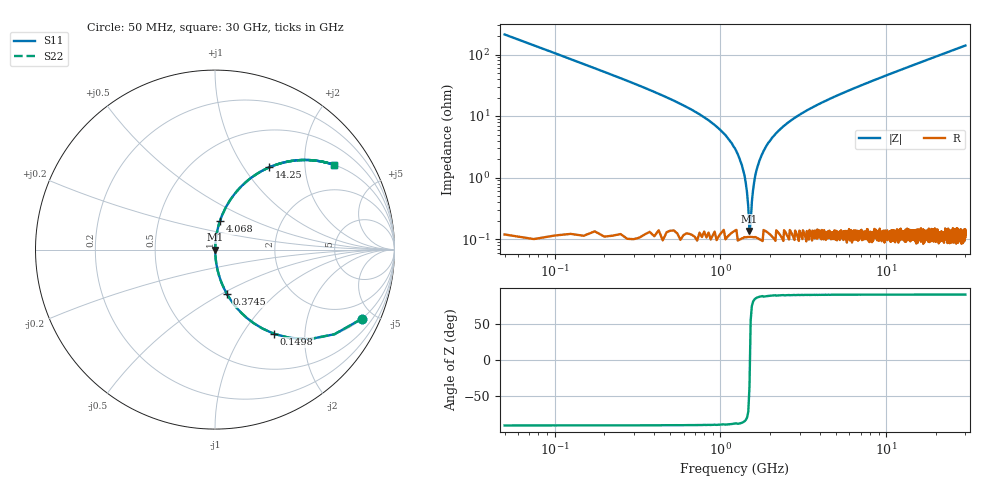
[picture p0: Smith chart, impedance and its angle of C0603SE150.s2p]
!	AVX Thin Film Operation 	Date: April 2014
!	Description: Accu-P® Series, Thin Film  SMD RF Capacitor
!	Part Number: 06035J150FBSTR
# MHZ S MA R 50
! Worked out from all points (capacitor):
!   1201 points, 50 MHz to 30 GHz, reference 50 ohm
!   read as one part in series: C = 15 pF near 199.8 MHz
!   lowest |Z| = 135 mohm at 1.498 GHz (marker M1)
!   series resonance near 1.506 GHz, so ESL is about 740 pH
!   S11 on the Smith chart (normalised r, x): 50 MHz: 1.00, -4.24; 149.8 MHz: 1.00, -1.40; 374.5 MHz: 1.00, -0.53; 4.068 GHz: 1.00, +0.33; 14.25 GHz: 1.00, +1.32; 30 GHz: 1.00, +2.80
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50  0.904 -25.2  0.427 64.7  0.427 64.7  0.904 -25.2
149.833  0.574 -54.9  0.818 35.0  0.818 35.0  0.574 -54.9
249.667  0.382 -67.4  0.923 22.4  0.923 22.4  0.382 -67.4
374.458  0.257 -74.9  0.965 14.9  0.965 14.9  0.257 -74.9
649  0.132 -81.9  0.99 7.6  0.99 7.6  0.132 -81.9
1123.208  0.042 -86.0  0.998 2.4  0.998 2.4  0.042 -86.0
1272.958  0.024 -85.8  0.999 1.4  0.999 1.4  0.024 -85.8
1397.75  0.011 -83.1  0.999 0.6  0.999 0.6  0.011 -83.1
1497.583  0.001419 -34.5  0.999 0.0  0.999 0.0  0.001419 -34.5
1622.375  0.011 83.0  0.999 -0.6  0.999 -0.6  0.011 83.0
1722.208  0.019 85.4  0.999 -1.1  0.999 -1.1  0.019 85.4
1822.042  0.027 86.0  0.998 -1.5  0.998 -1.5  0.027 86.0
2196.417  0.054 85.7  0.997 -3.1  0.997 -3.1  0.054 85.7
2920.208  0.1 83.6  0.994 -5.7  0.994 -5.7  0.1 83.6
4068.292  0.162 80.3  0.986 -9.3  0.986 -9.3  0.162 80.3
5041.667  0.21 77.6  0.977 -12.1  0.977 -12.1  0.21 77.6
10058.29  0.417 65.2  0.908 -24.7  0.908 -24.7  0.417 65.2
14251.29  0.55 56.5  0.834 -33.4  0.834 -33.4  0.55 56.5
15025  0.571 55.1  0.82 -34.8  0.82 -34.8  0.571 55.1
20016.67  0.681 47.0  0.731 -42.9  0.731 -42.9  0.681 47.0
25033.29  0.759 40.6  0.65 -49.4  0.65 -49.4  0.759 40.6
30000  0.813 35.5  0.581 -54.4  0.581 -54.4  0.813 35.5
